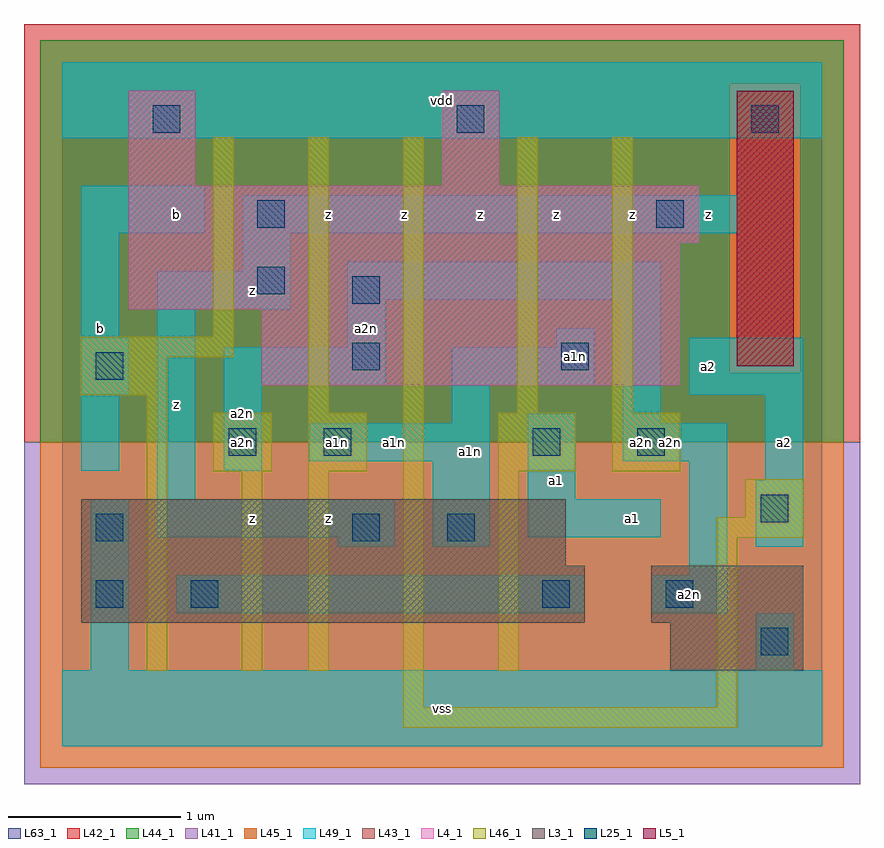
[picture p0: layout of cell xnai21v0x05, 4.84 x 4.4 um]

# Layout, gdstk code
import gdstk
lib = gdstk.Library(unit=1e-6, precision=1e-09)
def R(c, l, rs):  # rectangles x0, y0, x1, y1
    for r in rs: c.add(gdstk.rectangle(r[:2], r[2:], *l))
L3_1 = (3, 1)
L4_1 = (4, 1)
L5_1 = (5, 1)
L25_1 = (25, 1)
L41_1 = (41, 1)
L42_1 = (42, 1)
L43_1 = (43, 1)
L44_1 = (44, 1)
L45_1 = (45, 1)
L46_1 = (46, 1)
L49_1 = (49, 1)
L63_1 = (63, 1)

xnai21v0x05 = lib.new_cell('xnai21v0x05')
R(xnai21v0x05, L3_1, [(3.52,0.44,4.29,0.715), (0.11,0.715,3.025,1.045), (3.41,0.715,4.29,1.045), (0.11,1.045,2.915,1.43)])
R(xnai21v0x05, L4_1, [(1.155,2.09,3.575,2.53), (0.385,2.53,3.575,2.915), (0.385,2.915,3.685,3.245), (0.385,3.245,0.77,3.795), (2.2,3.245,2.53,3.795)])
R(xnai21v0x05, L5_1, [(3.905,2.2,4.235,3.795)])
R(xnai21v0x05, L25_1, [(4.045,0.525,4.205,0.685), (0.195,0.8,0.355,0.96), (0.745,0.8,0.905,0.96), (2.78,0.8,2.94,0.96), (3.495,0.8,3.655,0.96), (0.195,1.185,0.355,1.345), (1.68,1.185,1.84,1.345), (2.23,1.185,2.39,1.345), (4.045,1.295,4.205,1.455), (0.965,1.68,1.125,1.84), (1.515,1.68,1.675,1.84), (2.725,1.68,2.885,1.84), (3.33,1.68,3.49,1.84), (0.195,2.12,0.355,2.28), (1.68,2.175,1.84,2.335), (2.89,2.175,3.05,2.335), (1.68,2.56,1.84,2.72), (1.13,2.615,1.29,2.775), (1.13,3,1.29,3.16), (3.44,3,3.6,3.16), (0.525,3.55,0.685,3.71), (2.285,3.55,2.445,3.71), (3.99,3.55,4.15,3.71)])
R(xnai21v0x05, L41_1, [(-0.22,-0.22,4.62,1.76)])
R(xnai21v0x05, L42_1, [(-0.22,1.76,4.62,4.18)])
R(xnai21v0x05, L43_1, [(3.52,0.44,4.29,0.715), (0.11,0.715,3.025,1.045), (3.41,0.715,4.29,1.045), (0.11,1.045,2.915,1.43), (1.155,2.09,3.575,2.53), (3.905,2.2,4.235,3.795), (0.385,2.53,3.575,2.915), (0.385,2.915,3.685,3.245), (0.385,3.245,0.77,3.795), (2.2,3.245,2.53,3.795)])
R(xnai21v0x05, L44_1, [(-0.125,1.76,4.525,2.16), (-0.125,2.16,3.865,3.835), (4.275,2.16,4.525,3.835), (-0.125,3.835,4.525,4.085)])
R(xnai21v0x05, L45_1, [(-0.125,-0.125,4.525,1.76), (3.865,2.16,4.275,3.835)])
R(xnai21v0x05, L46_1, [(1.975,0.105,3.91,0.225), (1.975,0.225,2.095,3.525), (3.79,0.225,3.91,1.205), (0.49,0.435,0.61,2.03), (1.04,0.435,1.16,1.59), (1.425,0.435,1.545,1.59), (2.525,0.435,2.645,1.59), (3.79,1.205,4.295,1.325), (3.955,1.325,4.295,1.545), (0.875,1.59,1.215,1.93), (1.425,1.59,1.765,1.93), (2.525,1.59,2.975,1.93), (3.185,1.59,3.58,1.93), (1.425,1.93,1.545,3.525), (2.635,1.93,2.755,3.525), (3.185,1.93,3.305,3.525), (0.105,2.03,0.61,2.25), (0.105,2.25,0.995,2.37), (0.875,2.37,0.995,3.525)])
R(xnai21v0x05, L49_1, [(0,0,4.4,0.44), (0.165,0.44,0.385,1.43), (4.015,0.44,4.235,0.77), (0.66,0.77,3.025,0.99), (3.41,0.77,3.85,0.99), (3.63,0.99,3.85,1.65), (1.595,1.155,1.925,1.21), (2.145,1.155,2.475,1.65), (4.015,1.155,4.29,1.54), (0.55,1.21,1.925,1.43), (2.695,1.21,3.465,1.43), (0.55,1.43,0.77,2.53), (2.695,1.43,2.97,1.925), (4.07,1.54,4.29,2.035), (0.11,1.595,0.33,2.035), (0.935,1.595,1.155,2.09), (1.43,1.65,2.475,1.87), (3.245,1.65,3.85,1.87), (2.255,1.87,2.475,2.09), (3.245,1.87,3.465,2.585), (0.11,2.035,0.385,2.365), (3.63,2.035,4.29,2.365), (0.935,2.09,1.87,2.31), (2.255,2.09,3.08,2.31), (1.65,2.31,1.87,2.585), (2.86,2.31,3.08,2.42), (0.11,2.365,0.33,2.97), (0.55,2.53,1.32,2.75), (1.65,2.585,3.465,2.805), (1.045,2.75,1.32,2.97), (0.11,2.97,0.825,3.245), (1.045,2.97,3.905,3.19), (0,3.52,4.4,3.96)])
R(xnai21v0x05, L63_1, [(0,0,4.4,3.96)])
xnai21v0x05.add(gdstk.Label('a2n', (1.045,1.76), layer=49, texttype=1))
xnai21v0x05.add(gdstk.Label('a1n', (1.595,1.76), layer=49, texttype=1))
xnai21v0x05.add(gdstk.Label('a2n', (3.355,1.76), layer=49, texttype=1))
xnai21v0x05.add(gdstk.Label('b', (0.22,2.42), layer=49, texttype=1))
xnai21v0x05.add(gdstk.Label('z', (1.1,1.32), layer=49, texttype=1))
xnai21v0x05.add(gdstk.Label('z', (1.54,1.32), layer=49, texttype=1))
xnai21v0x05.add(gdstk.Label('a2n', (1.045,1.925), layer=49, texttype=1))
xnai21v0x05.add(gdstk.Label('z', (0.66,1.98), layer=49, texttype=1))
xnai21v0x05.add(gdstk.Label('z', (1.1,2.64), layer=49, texttype=1))
xnai21v0x05.add(gdstk.Label('z', (1.54,3.08), layer=49, texttype=1))
xnai21v0x05.add(gdstk.Label('b', (0.66,3.08), layer=49, texttype=1))
xnai21v0x05.add(gdstk.Label('vss', (2.2,0.22), layer=49, texttype=1))
xnai21v0x05.add(gdstk.Label('a1n', (2.365,1.705), layer=49, texttype=1))
xnai21v0x05.add(gdstk.Label('a1n', (1.925,1.76), layer=49, texttype=1))
xnai21v0x05.add(gdstk.Label('a2n', (1.76,2.42), layer=49, texttype=1))
xnai21v0x05.add(gdstk.Label('z', (2.42,3.08), layer=49, texttype=1))
xnai21v0x05.add(gdstk.Label('z', (1.98,3.08), layer=49, texttype=1))
xnai21v0x05.add(gdstk.Label('vdd', (2.2,3.74), layer=49, texttype=1))
xnai21v0x05.add(gdstk.Label('a1', (3.3,1.32), layer=49, texttype=1))
xnai21v0x05.add(gdstk.Label('a1', (2.86,1.54), layer=49, texttype=1))
xnai21v0x05.add(gdstk.Label('a1n', (2.97,2.255), layer=49, texttype=1))
xnai21v0x05.add(gdstk.Label('z', (3.3,3.08), layer=49, texttype=1))
xnai21v0x05.add(gdstk.Label('z', (2.86,3.08), layer=49, texttype=1))
xnai21v0x05.add(gdstk.Label('a2n', (3.63,0.88), layer=49, texttype=1))
xnai21v0x05.add(gdstk.Label('a2', (4.18,1.76), layer=49, texttype=1))
xnai21v0x05.add(gdstk.Label('a2n', (3.52,1.76), layer=49, texttype=1))
xnai21v0x05.add(gdstk.Label('a2', (3.74,2.2), layer=49, texttype=1))
xnai21v0x05.add(gdstk.Label('z', (3.74,3.08), layer=49, texttype=1))

lib.write_gds('xnai21v0x05.gds')
